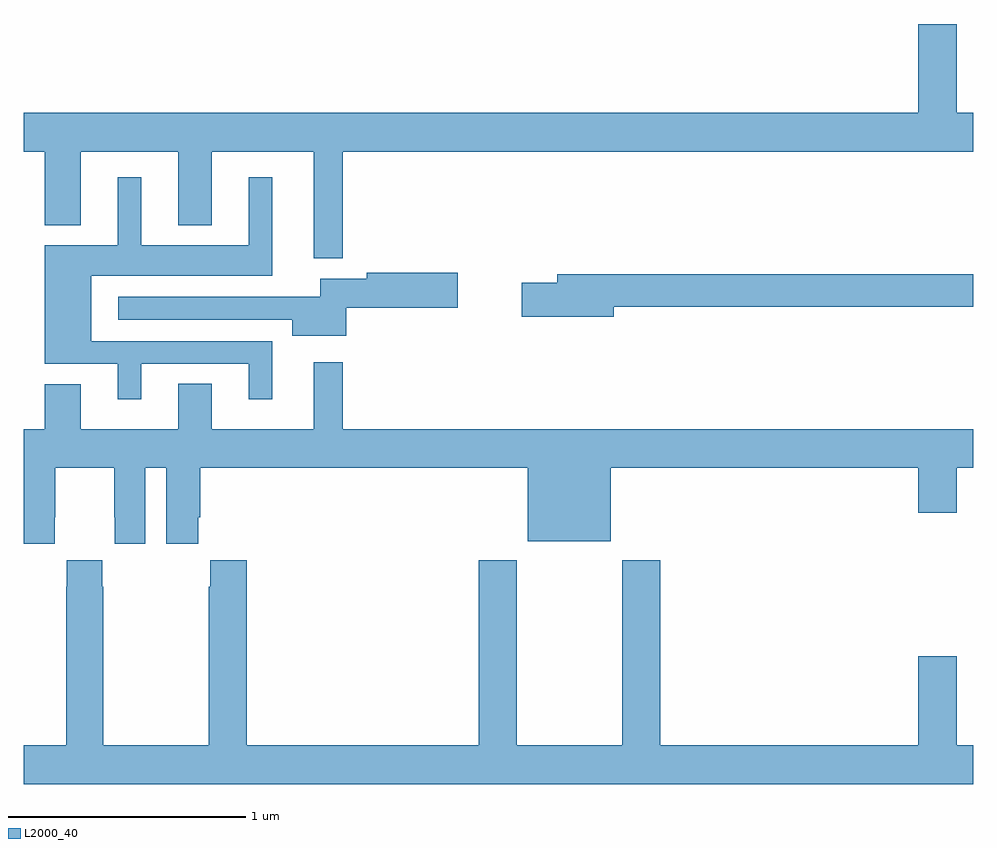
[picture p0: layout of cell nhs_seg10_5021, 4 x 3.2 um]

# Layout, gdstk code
import gdstk
lib = gdstk.Library(unit=1e-6, precision=1e-09)
def P(c, l, *ps):  # polygons
    for p in ps: c.add(gdstk.Polygon(p, *l))
L2000_40 = (2000, 40)

nhs_seg10_5021 = lib.new_cell('nhs_seg10_5021')
P(nhs_seg10_5021, L2000_40, [(402.343,1321.628),(405,1321.628),(405,1321.792),(404.932,1321.792),(404.932,1322.167),(404.768,1322.167),(404.768,1321.792),(401,1321.792),(401,1321.628),(401.087,1321.628),(401.087,1321.319),(401.239,1321.319),(401.239,1321.628),(401.651,1321.628),(401.651,1321.319),(401.791,1321.319),(401.791,1321.628),(402.221,1321.628),(402.221,1321.179),(402.343,1321.179)],
  [(401.494,1320.735),(401.948,1320.735),(401.948,1320.585),(402.046,1320.585),(402.046,1320.831),(401.284,1320.831),(401.284,1321.106),(402.046,1321.106),(402.046,1321.522),(401.948,1321.522),(401.948,1321.234),(401.494,1321.234),(401.494,1321.522),(401.396,1321.522),(401.396,1321.234),(401.087,1321.234),(401.087,1320.735),(401.396,1320.735),(401.396,1320.585),(401.494,1320.585)],
  [(402.358,1320.971),(402.829,1320.971),(402.829,1321.118),(402.444,1321.118),(402.444,1321.093),(402.248,1321.093),(402.248,1321.017),(401.397,1321.017),(401.397,1320.921),(402.131,1320.921),(402.131,1320.854),(402.358,1320.854)],
  [(403.486,1320.976),(405,1320.976),(405,1321.112),(403.247,1321.112),(403.247,1321.076),(403.098,1321.076),(403.098,1320.934),(403.486,1320.934)],
  [(401.651,1320.46),(401.239,1320.46),(401.239,1320.649),(401.087,1320.649),(401.087,1320.46),(401,1320.46),(401,1319.976),(401.13,1319.976),(401.13,1320.088),(401.131,1320.088),(401.131,1320.296),(401.381,1320.296),(401.381,1320.088),(401.382,1320.088),(401.382,1319.976),(401.512,1319.976),(401.512,1320.296),(401.6,1320.296),(401.6,1319.976),(401.734,1319.976),(401.734,1320.088),(401.744,1320.088),(401.744,1320.296),(403.124,1320.296),(403.124,1319.987),(403.474,1319.987),(403.474,1320.296),(404.768,1320.296),(404.768,1320.108),(404.932,1320.108),(404.932,1320.296),(405,1320.296),(405,1320.46),(402.343,1320.46),(402.343,1320.742),(402.221,1320.742),(402.221,1320.46),(401.791,1320.46),(401.791,1320.65),(401.651,1320.65)],
  [(405,1319.128),(404.932,1319.128),(404.932,1319.503),(404.768,1319.503),(404.768,1319.128),(403.682,1319.128),(403.682,1319.908),(403.522,1319.908),(403.522,1319.128),(403.077,1319.128),(403.077,1319.908),(402.917,1319.908),(402.917,1319.128),(401.939,1319.128),(401.939,1319.908),(401.785,1319.908),(401.785,1319.795),(401.779,1319.795),(401.779,1319.128),(401.334,1319.128),(401.334,1319.795),(401.331,1319.795),(401.331,1319.908),(401.181,1319.908),(401.181,1319.795),(401.179,1319.795),(401.179,1319.128),(401,1319.128),(401,1318.964),(405,1318.964)])

lib.write_gds('nhs_seg10_5021.gds')
